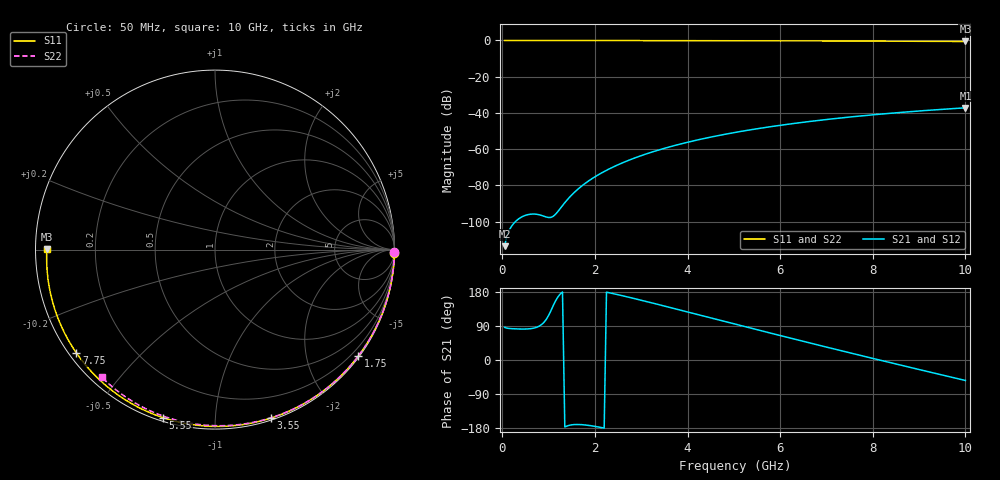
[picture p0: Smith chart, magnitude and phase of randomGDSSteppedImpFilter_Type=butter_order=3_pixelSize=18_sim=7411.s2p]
! freq	dB(S11)	phase(S11)	dB(S12)	phase(S12)
!  dB(S21)	phase(S21)	dB(S22)	phase(S22)
!S-par simulation data
#  GHz  S  DB  R 50
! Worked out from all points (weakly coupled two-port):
!   200 points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, 50 MHz to 10 GHz, reference 50 ohm
!   highest |S21| = -37.18 dB at 10 GHz (marker M1); lowest = -113.5 dB at 50 MHz (marker M2)
!   lowest |S11| = -0.6 dB at 10 GHz (marker M3), VSWR 30.74, Z = 1.63 + j0.0304 ohm
!   |S11| at or under -10 dB: nowhere
!   |S22| runs from -0.4 to 0.0 dB; largest |S21 - S12| = 0
!   S11 on the Smith chart (normalised r, x): 50 MHz: open; 1.75 GHz: 0.03, -3.03; 3.55 GHz: 0.02, -1.38; 5.55 GHz: 0.02, -0.74; 7.75 GHz: 0.02, -0.33; 10 GHz: 0.03, +0.00
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0.05  -0.00 -1.1  -113.51 86.2  -113.51 86.2  -0.00 -0.8
0.45  -0.01 -9.6  -97.01 81.7  -97.01 81.7  -0.01 -6.8
0.85  -0.02 -18.0  -96.56 93.7  -96.56 93.7  -0.02 -12.8
1.25  -0.03 -26.3  -92.77 173.9  -92.77 173.9  -0.02 -18.8
1.7  -0.05 -35.6  -80.62 -170.5  -80.62 -170.5  -0.03 -25.5
1.75  -0.05 -36.6  -79.62 -171.0  -79.62 -171.0  -0.03 -26.2
2.05  -0.05 -42.6  -74.47 -176.2  -74.47 -176.2  -0.04 -30.6
2.25  -0.06 -46.7  -71.64 179.0  -71.64 179.0  -0.04 -33.5
2.45  -0.06 -50.6  -69.16 173.7  -69.16 173.7  -0.05 -36.4
2.9  -0.08 -59.4  -64.46 160.7  -64.46 160.7  -0.06 -42.8
3.4  -0.09 -69.0  -60.26 145.5  -60.26 145.5  -0.07 -49.9
3.55  -0.10 -71.8  -59.16 140.8  -59.16 140.8  -0.07 -52.0
4.3  -0.12 -85.5  -54.42 117.4  -54.42 117.4  -0.09 -62.2
5.05  -0.15 -98.7  -50.65 94.0  -50.65 94.0  -0.11 -72.2
5.55  -0.17 -107.3  -48.52 78.4  -48.52 78.4  -0.13 -78.7
6.1  -0.21 -116.5  -46.47 61.5  -46.47 61.5  -0.15 -85.6
6.7  -0.24 -126.3  -44.51 43.2  -44.51 43.2  -0.18 -93.0
7.25  -0.28 -135.2  -42.92 26.6  -42.92 26.6  -0.21 -99.7
7.75  -0.32 -143.3  -41.63 11.6  -41.63 11.6  -0.24 -105.6
8.35  -0.38 -152.9  -40.25 -6.1  -40.25 -6.1  -0.29 -112.6
9.2  -0.47 -166.7  -38.54 -30.9  -38.54 -30.9  -0.36 -122.4
10  -0.57 179.9  -37.18 -54.0  -37.18 -54.0  -0.44 -131.4
